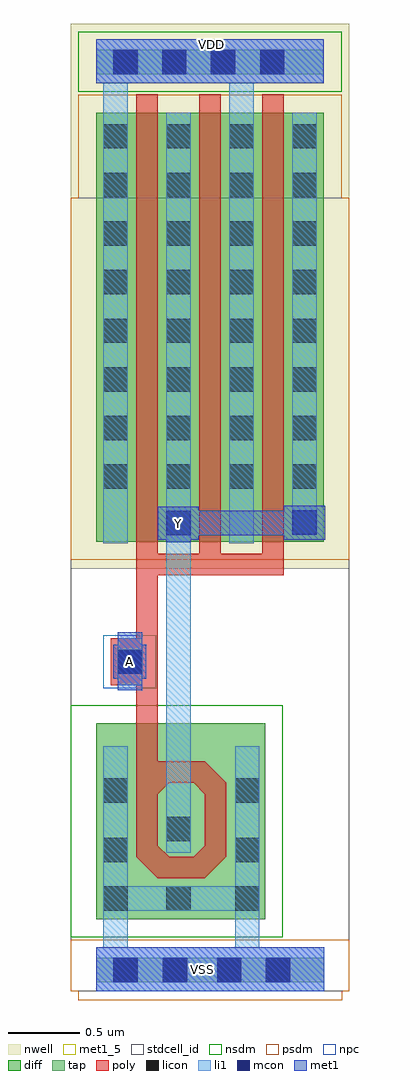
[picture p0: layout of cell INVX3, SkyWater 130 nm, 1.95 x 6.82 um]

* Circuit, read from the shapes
.subckt INVX3 A VDD VSS Y
XM1 VSS A Y VSS sky130_fd_pr__nfet_01v8 w=2.49 l=0.1463
XM2 Y A VDD VDD sky130_fd_pr__pfet_01v8 w=3 l=0.15 m=3
.ends

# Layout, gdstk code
import gdstk
lib = gdstk.Library(unit=1e-6, precision=1e-09)
def R(c, l, rs):  # rectangles x0, y0, x1, y1
    for r in rs: c.add(gdstk.rectangle(r[:2], r[2:], *l))
def A(c, l, x, y, w, h, nx, ny, dx, dy):  # array of equal rectangles
    R(c, l, [(x+i*dx, y+j*dy, x+i*dx+w, y+j*dy+h) for i in range(nx) for j in range(ny)])
def P(c, l, *ps):  # polygons
    for p in ps: c.add(gdstk.Polygon(p, *l))
nwell = (64, 20)
diff = (65, 20)
tap = (65, 44)
poly = (66, 20)
licon = (66, 44)
li1 = (67, 20)
mcon = (67, 44)
met1_5 = (68, 5)
met1 = (68, 20)
stdcell_id = (81, 4)
nsdm = (93, 44)
psdm = (94, 20)
npc = (95, 20)

invx3 = lib.new_cell('INVX3')
R(invx3, nwell, [(-0.18,2.955,1.77,6.765)])
R(invx3, diff, [(0,0.505,1.18,1.875), (0,3.145,1.59,6.145)])
R(invx3, tap, [(0,0.065,1.595,0.235), (0,6.415,1.59,6.585)])
A(invx3, poly, 0.28, 3.06, 0.15, 3.215, 3, 1, 0.44, 0)
R(invx3, poly, [(0.43,0.79,0.76,0.94), (0.28,0.94,0.43,1.46), (0.76,0.94,0.91,1.46), (0.28,1.46,0.76,1.61), (0.28,1.61,0.43,2.14), (0.1,2.14,0.43,2.47), (0.28,2.47,0.43,2.91), (0.28,2.91,1.31,3.06)])
P(invx3, poly, [(0.76,1.61),(0.76,1.46),(0.91,1.46)],
  [(0.43,1.38),(0.43,1.46),(0.51,1.46)],
  [(0.68,1.46),(0.76,1.46),(0.76,1.38)],
  [(0.43,1.02),(0.43,0.94),(0.51,0.94)],
  [(0.68,0.94),(0.76,0.94),(0.76,1.02)],
  [(0.28,0.94),(0.43,0.94),(0.43,0.79)],
  [(0.76,0.79),(0.76,0.94),(0.91,0.94)])
A(invx3, licon, 0.05, 3.515, 0.17, 0.17, 4, 8, 0.44, 0.34)
A(invx3, licon, 0.12, 6.415, 0.17, 0.17, 3, 1, 0.34, 0)
R(invx3, licon, [(0.12,0.065,0.29,0.235), (0.465,0.065,0.635,0.235), (0.845,0.065,1.015,0.235), (1.185,0.065,1.355,0.235), (0.05,0.565,0.22,0.735), (0.49,0.565,0.66,0.735), (0.97,0.565,1.14,0.735), (0.05,0.905,0.22,1.075), (0.97,0.905,1.14,1.075), (0.49,1.05,0.66,1.22), (0.05,1.32,0.22,1.49), (0.97,1.32,1.14,1.49), (0.15,2.22,0.32,2.39), (1.145,6.415,1.315,6.585)])
R(invx3, li1, [(0,0,1.595,0.31), (0.05,0.31,0.22,0.565), (0.97,0.31,1.14,0.565), (0.05,0.565,1.14,0.735), (0.05,0.735,0.22,1.715), (0.97,0.735,1.14,1.715), (0.49,0.97,0.66,6.145), (0.15,2.14,0.32,2.47), (0.05,3.135,0.22,6.35), (0.93,3.135,1.1,6.35), (1.37,3.195,1.54,6.145), (0,6.35,1.59,6.66)])
A(invx3, mcon, 0.12, 6.415, 0.17, 0.17, 3, 1, 0.34, 0)
R(invx3, mcon, [(0.12,0.065,0.29,0.235), (0.465,0.065,0.635,0.235), (0.845,0.065,1.015,0.235), (1.185,0.065,1.355,0.235), (0.15,2.22,0.32,2.39), (0.49,3.19,0.66,3.36), (1.37,3.195,1.54,3.365), (1.145,6.415,1.315,6.585)])
R(invx3, met1_5, [(0.15,2.22,0.32,2.39), (0.49,3.19,0.66,3.36)])
R(invx3, met1, [(0,0,1.595,0.31), (0.15,2.105,0.32,2.185), (0.12,2.185,0.35,2.425), (0.15,2.425,0.32,2.51), (0.49,3.14,0.66,3.16), (0.43,3.16,0.715,3.19), (1.31,3.16,1.6,3.19), (0.43,3.19,1.6,3.36), (0.43,3.36,0.715,3.39), (1.31,3.36,1.6,3.395), (0,6.35,1.59,6.66)])
R(invx3, stdcell_id, [(-0.18,0,1.77,5.55)])
R(invx3, nsdm, [(-0.18,0.38,1.305,2), (-0.125,6.29,1.715,6.71)])
R(invx3, psdm, [(-0.125,-0.06,1.72,0), (-0.18,0,1.77,0.36), (-0.18,3.02,1.77,5.55), (-0.125,5.55,1.715,6.27)])
R(invx3, npc, [(0.05,2.12,0.42,2.49)])
invx3.add(gdstk.Label('VDD', (0.805,6.625), layer=68, texttype=5))
invx3.add(gdstk.Label('A', (0.235,2.305), layer=68, texttype=5))
invx3.add(gdstk.Label('VSS', (0.74,0.155), layer=68, texttype=5))
invx3.add(gdstk.Label('Y', (0.575,3.275), layer=68, texttype=5))

lib.write_gds('INVX3.gds')
